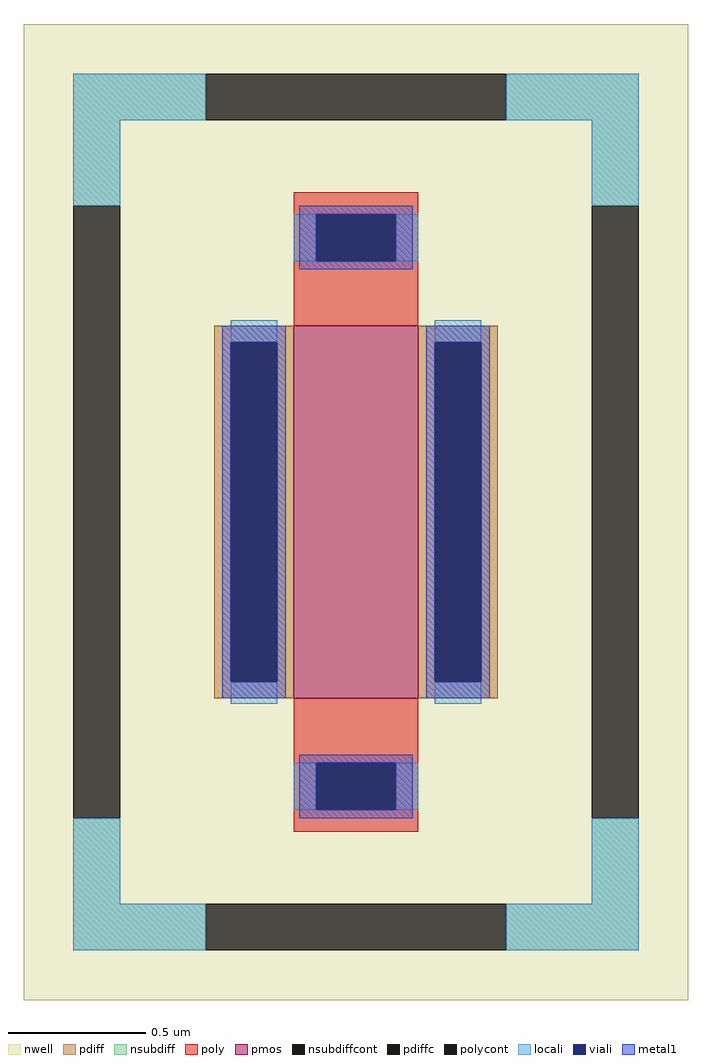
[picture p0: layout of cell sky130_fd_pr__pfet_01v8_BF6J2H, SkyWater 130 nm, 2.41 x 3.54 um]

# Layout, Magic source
magic
tech sky130A
magscale 1 2
<< nwell >>
rect -241 -354 241 354
<< pmos >>
rect -45 -135 45 135
<< pdiff >>
rect -103 123 -45 135
rect -103 -123 -91 123
rect -57 -123 -45 123
rect -103 -135 -45 -123
rect 45 123 103 135
rect 45 -123 57 123
rect 91 -123 103 123
rect 45 -135 103 -123
<< pdiffc >>
rect -91 -123 -57 123
rect 57 -123 91 123
<< nsubdiff >>
rect -205 284 -109 318
rect 109 284 205 318
rect -205 222 -171 284
rect 171 222 205 284
rect -205 -284 -171 -222
rect 171 -284 205 -222
rect -205 -318 -109 -284
rect 109 -318 205 -284
<< nsubdiffcont >>
rect -109 284 109 318
rect -205 -222 -171 222
rect 171 -222 205 222
rect -109 -318 109 -284
<< poly >>
rect -45 216 45 232
rect -45 182 -29 216
rect 29 182 45 216
rect -45 135 45 182
rect -45 -182 45 -135
rect -45 -216 -29 -182
rect 29 -216 45 -182
rect -45 -232 45 -216
<< polycont >>
rect -29 182 29 216
rect -29 -216 29 -182
<< locali >>
rect -205 284 -109 318
rect 109 284 205 318
rect -205 222 -171 284
rect 171 222 205 284
rect -45 182 -29 216
rect 29 182 45 216
rect -91 123 -57 139
rect -91 -139 -57 -123
rect 57 123 91 139
rect 57 -139 91 -123
rect -45 -216 -29 -182
rect 29 -216 45 -182
rect -205 -284 -171 -222
rect 171 -284 205 -222
rect -205 -318 -109 -284
rect 109 -318 205 -284
<< viali >>
rect -29 182 29 216
rect -91 -123 -57 123
rect 57 -123 91 123
rect -29 -216 29 -182
<< metal1 >>
rect -41 216 41 222
rect -41 182 -29 216
rect 29 182 41 216
rect -41 176 41 182
rect -97 123 -51 135
rect -97 -123 -91 123
rect -57 -123 -51 123
rect -97 -135 -51 -123
rect 51 123 97 135
rect 51 -123 57 123
rect 91 -123 97 123
rect 51 -135 97 -123
rect -41 -182 41 -176
rect -41 -216 -29 -182
rect 29 -216 41 -182
rect -41 -222 41 -216
<< properties >>
string FIXED_BBOX -188 -301 188 301
string gencell sky130_fd_pr__pfet_01v8
string library sky130
string parameters w 1.35 l 0.45 m 1 nf 1 diffcov 100 polycov 100 guard 1 glc 1 grc 1 gtc 1 gbc 1 tbcov 100 rlcov 100 topc 1 botc 1 poverlap 0 doverlap 1 lmin 0.15 wmin 0.42 compatible {sky130_fd_pr__pfet_01v8  sky130_fd_pr__pfet_01v8_lvt sky130_fd_pr__pfet_01v8_hvt  sky130_fd_pr__pfet_g5v0d10v5} full_metal 1 viasrc 100 viadrn 100 viagate 100 viagb 0 viagr 0 viagl 0 viagt 0
<< end >>
